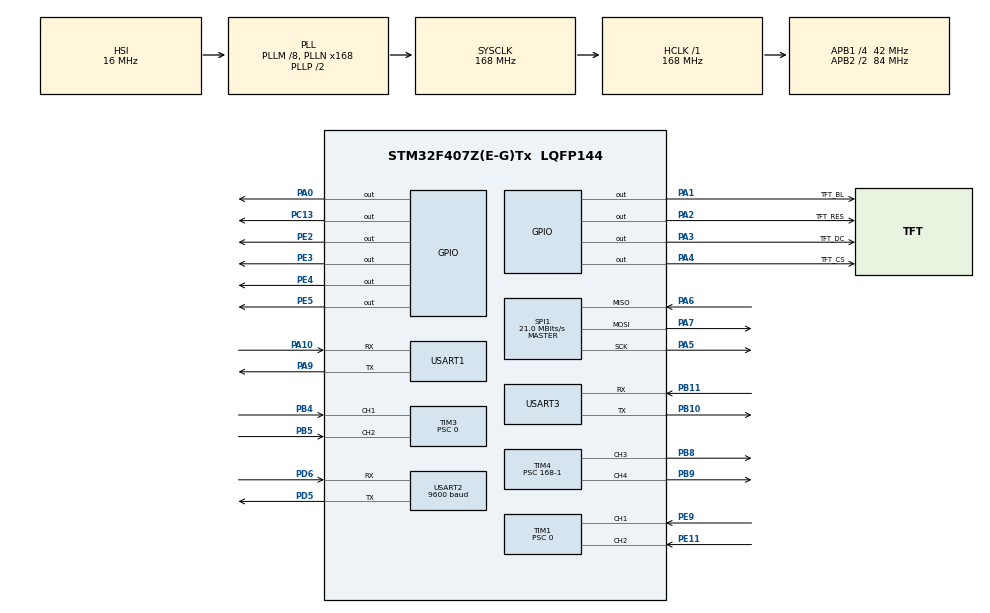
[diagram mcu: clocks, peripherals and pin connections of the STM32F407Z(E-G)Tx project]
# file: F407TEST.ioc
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Dma.Request0=USART1_RX
Dma.Request1=USART1_TX
Dma.USART1_RX.0.Direction=DMA_PERIPH_TO_MEMORY
Dma.USART1_RX.0.FIFOMode=DMA_FIFOMODE_DISABLE
Dma.USART1_RX.0.Instance=DMA2_Stream2
Dma.USART1_RX.0.MemDataAlignment=DMA_MDATAALIGN_BYTE
Dma.USART1_RX.0.MemInc=DMA_MINC_ENABLE
Dma.USART1_RX.0.Mode=DMA_CIRCULAR
Dma.USART1_RX.0.PeriphDataAlignment=DMA_PDATAALIGN_BYTE
Dma.USART1_RX.0.PeriphInc=DMA_PINC_DISABLE
Dma.USART1_RX.0.Priority=DMA_PRIORITY_MEDIUM
Dma.USART1_TX.1.Direction=DMA_MEMORY_TO_PERIPH
Dma.USART1_TX.1.FIFOMode=DMA_FIFOMODE_DISABLE
Dma.USART1_TX.1.Instance=DMA2_Stream7
Dma.USART1_TX.1.MemDataAlignment=DMA_MDATAALIGN_BYTE
Dma.USART1_TX.1.MemInc=DMA_MINC_ENABLE
Dma.USART1_TX.1.Mode=DMA_NORMAL
Dma.USART1_TX.1.PeriphDataAlignment=DMA_PDATAALIGN_BYTE
Dma.USART1_TX.1.PeriphInc=DMA_PINC_DISABLE
Dma.USART1_TX.1.Priority=DMA_PRIORITY_MEDIUM
Mcu.Family=STM32F4
Mcu.Name=STM32F407Z(E-G)Tx
Mcu.Package=LQFP144
NVIC.DMA2_Stream2_IRQn=true\:0\:0\:false\:false\:true\:false\:true\:true
NVIC.DMA2_Stream7_IRQn=true\:0\:0\:false\:false\:true\:false\:true\:true
NVIC.PriorityGroup=NVIC_PRIORITYGROUP_4
NVIC.TIM2_IRQn=true\:0\:0\:true\:false\:true\:true\:true\:true
NVIC.TIM5_IRQn=true\:0\:0\:true\:false\:true\:true\:true\:true
NVIC.USART1_IRQn=true\:0\:0\:true\:false\:true\:true\:true\:true
NVIC.USART2_IRQn=true\:0\:0\:true\:false\:true\:true\:true\:true
NVIC.USART3_IRQn=true\:0\:0\:true\:false\:true\:true\:true\:true
PA0-WKUP.Signal=GPIO_Output
PA1.GPIO_Label=TFT_BL
PA1.Signal=GPIO_Output
PA10.Mode=Asynchronous
PA10.Signal=USART1_RX
PA13.Mode=Serial_Wire
PA13.Signal=SYS_JTMS-SWDIO
PA14.Mode=Serial_Wire
PA14.Signal=SYS_JTCK-SWCLK
PA2.GPIO_Label=TFT_RES
PA2.Signal=GPIO_Output
PA3.GPIO_Label=TFT_DC
PA3.Signal=GPIO_Output
PA4.GPIO_Label=TFT_CS
PA4.Signal=GPIO_Output
PA5.Mode=Full_Duplex_Master
PA5.Signal=SPI1_SCK
PA6.Mode=Full_Duplex_Master
PA6.Signal=SPI1_MISO
PA7.Mode=Full_Duplex_Master
PA7.Signal=SPI1_MOSI
PA9.Mode=Asynchronous
PA9.Signal=USART1_TX
PB10.Mode=Asynchronous
PB10.Signal=USART3_TX
PB11.Mode=Asynchronous
PB11.Signal=USART3_RX
PB4.Signal=S_TIM3_CH1
PB5.Signal=S_TIM3_CH2
PB8.Signal=S_TIM4_CH3
PB9.Signal=S_TIM4_CH4
PC13-ANTI_TAMP.PinState=GPIO_PIN_SET
PC13-ANTI_TAMP.Signal=GPIO_Output
PD5.Mode=Asynchronous
PD5.Signal=USART2_TX
PD6.Mode=Asynchronous
PD6.Signal=USART2_RX
PE11.Signal=S_TIM1_CH2
PE2.Signal=GPIO_Output
PE3.Signal=GPIO_Output
PE4.Signal=GPIO_Output
PE5.Signal=GPIO_Output
PE9.Signal=S_TIM1_CH1
PH0-OSC_IN.Mode=HSE-External-Oscillator
PH0-OSC_IN.Signal=RCC_OSC_IN
PH1-OSC_OUT.Mode=HSE-External-Oscillator
PH1-OSC_OUT.Signal=RCC_OSC_OUT
ProjectManager.HeapSize=0x200
ProjectManager.StackSize=0x400
ProjectManager.TargetToolchain=MDK-ARM V5.32
RCC.48MHZClocksFreq_Value=84000000
RCC.AHBFreq_Value=168000000
RCC.APB1CLKDivider=RCC_HCLK_DIV4
RCC.APB1Freq_Value=42000000
RCC.APB1TimFreq_Value=84000000
RCC.APB2CLKDivider=RCC_HCLK_DIV2
RCC.APB2Freq_Value=84000000
RCC.APB2TimFreq_Value=168000000
RCC.CortexFreq_Value=168000000
RCC.HCLKFreq_Value=168000000
RCC.HSE_VALUE=25000000
RCC.HSI_VALUE=16000000
RCC.LSE_VALUE=32768
RCC.PLLM=8
RCC.PLLN=168
RCC.SYSCLKFreq_VALUE=168000000
RCC.SYSCLKSource=RCC_SYSCLKSOURCE_PLLCLK
RCC.VCOOutputFreq_Value=336000000
SH.S_TIM1_CH1.0=TIM1_CH1,Encoder_Interface
SH.S_TIM1_CH2.0=TIM1_CH2,Encoder_Interface
SH.S_TIM3_CH1.0=TIM3_CH1,Encoder_Interface
SH.S_TIM3_CH2.0=TIM3_CH2,Encoder_Interface
SH.S_TIM4_CH3.0=TIM4_CH3,PWM Generation3 CH3
SH.S_TIM4_CH4.0=TIM4_CH4,PWM Generation4 CH4
SPI1.BaudRatePrescaler=SPI_BAUDRATEPRESCALER_4
SPI1.CalculateBaudRate=21.0 MBits/s
SPI1.Direction=SPI_DIRECTION_2LINES
SPI1.Mode=SPI_MODE_MASTER
SPI1.VirtualType=VM_MASTER
TIM1.EncoderMode=TIM_ENCODERMODE_TI12
TIM1.Prescaler=0
TIM2.AutoReloadPreload=TIM_AUTORELOAD_PRELOAD_ENABLE
TIM2.Period=10000-1
TIM2.Prescaler=84-1
TIM3.EncoderMode=TIM_ENCODERMODE_TI12
TIM3.Prescaler=0
TIM4.Channel-PWM\ Generation3\ CH3=TIM_CHANNEL_3
TIM4.Channel-PWM\ Generation4\ CH4=TIM_CHANNEL_4
TIM4.Period=5000
TIM4.Prescaler=168-1
TIM5.AutoReloadPreload=TIM_AUTORELOAD_PRELOAD_ENABLE
TIM5.Period=10000
TIM5.Prescaler=84-1
USART1.VirtualMode=VM_ASYNC
USART2.BaudRate=9600
USART2.VirtualMode=VM_ASYNC
USART3.VirtualMode=VM_ASYNC
VP_TIM2_VS_ClockSourceINT.Mode=Internal
VP_TIM4_VS_ClockSourceINT.Mode=Internal
VP_TIM5_VS_ClockSourceINT.Mode=Internal
board=custom

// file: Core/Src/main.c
/* USER CODE BEGIN Header */
/*
 * @Author: yyl
 * @Date: 2024-03-31 23:38:49
 * @LastEditors: yyl
 * @FilePath: \MDK-ARMc:\Users\vanilla\Desktop\F407TEST\Core\Src\main.c
 * @LastEditTime: 2024-04-28 14:52:20
 * @Descripttion:
 * code bless us
 */
/* USER CODE END Header */
#include "main.h"
#include "dma.h"
#include "spi.h"
#include "tim.h"
#include "usart.h"
#include "gpio.h"

/* USER CODE BEGIN Includes */
#include "head_files.h"
#include "lcd.h"
#include "lcd_init.h"
#include "pic.h"

/* USER CODE END Includes */

/* USER CODE BEGIN PTD */

void uart_rx(void);
void lcd_disp(void);

char text[20];

uint8_t str[] = "\r\n-------------USART_DMA_Sending------------------\r\n";
  // ���ջ�������СΪ20
uint8_t recvStr[20] = {0};

// int float ���ͻ��ûᵼ����������������ǵ�Ƭ����������

/* USER CODE END PTD */

void SystemClock_Config(void);

/* USER CODE BEGIN 0 */

int fputc(int ch, FILE *f)

{

  HAL_UART_Transmit(&huart3, (uint8_t *)&ch, 1, 0xffff);

  return ch;

}

int pid_flag=0;

/* USER CODE END 0 */

int main(void)
{

  /* MCU Configuration--------------------------------------------------------*/

  /* Reset of all peripherals, Initializes the Flash interface and the Systick. */
  HAL_Init();

  /* Configure the system clock */
  SystemClock_Config();

  /* Initialize all configured peripherals */
  MX_GPIO_Init();
  MX_DMA_Init();
  MX_SPI1_Init();
  MX_USART1_UART_Init();
  MX_USART2_UART_Init();
  MX_USART3_UART_Init();
  MX_TIM1_Init();
  MX_TIM3_Init();
  MX_TIM4_Init();
  MX_TIM2_Init();
  MX_TIM5_Init();
  /* USER CODE BEGIN 2 */

  HAL_TIM_Encoder_Start(&htim1, TIM_CHANNEL_ALL);
  HAL_TIM_Encoder_Start(&htim3, TIM_CHANNEL_ALL);
  __HAL_TIM_SET_COUNTER(&htim1, 15000);
  __HAL_TIM_SET_COUNTER(&htim3, 15000);

  HAL_TIM_PWM_Start(&htim4, TIM_CHANNEL_3);
  HAL_TIM_PWM_Start(&htim4, TIM_CHANNEL_4);

  LCD_Init();
  LCD_Fill(0, 0, LCD_W, LCD_H, BLACK);

  HAL_UART_Receive_DMA(&huart1,(uint8_t *)&USART1_NewData_1,1);

//300 �����ұ��� 800 ���� --���� ++����
  __HAL_TIM_SET_COMPARE(&htim4, TIM_CHANNEL_3,585);
  __HAL_TIM_SET_COMPARE(&htim4, TIM_CHANNEL_4,425);

	// x1=79;y1=132;x_green=156;y_green=134;

	HAL_TIM_Base_Start_IT(&htim2);
  HAL_TIM_Base_Start_IT(&htim5);
  /* USER CODE END 2 */

  /* Infinite loop */
 while (1)
 {

    /* USER CODE BEGIN 3 */

    LCD_ShowIntNum(0, 0, t, 3, RED, WHITE, 16);
		LCD_ShowIntNum(0, 16, x_history[8], 3, RED, WHITE, 16);LCD_ShowIntNum(48, 16, y_history[8], 3, RED, WHITE, 16);
		LCD_ShowIntNum(0, 32, x_red, 3, RED, WHITE, 16);LCD_ShowIntNum(48, 32, y_red, 3, RED, WHITE, 16);
    LCD_ShowIntNum(0, 50, x_green, 3, RED, WHITE, 16);LCD_ShowIntNum(50, 50, y_green, 3, RED, WHITE, 16);
	  LCD_ShowIntNum(0, 70, point_step, 3, RED, WHITE, 16);LCD_ShowIntNum(50, 70, move_step_now, 3, RED, WHITE, 16);

		if( horizon_pid>0){LCD_ShowIntNum(0, 110, i-hor_out, 10, RED, WHITE, 16);}
	  if( horizon_pid<0){LCD_ShowIntNum(0, 110, -(i-hor_out), 10, RED, WHITE, 16);}

		if( vertical_pid>0){LCD_ShowIntNum(48, 110, j+ver_out, 10, RED, WHITE, 16);}
	  if( vertical_pid<0){LCD_ShowIntNum(48, 110, -(j+ver_out), 10, RED, WHITE, 16);}

// if(pid_flag==0){
// 		Servo_start();
// 		pid_flag=1;
// }
		if(fabs(vertical_pid)<1||fabs(horizon_pid)<1){
		// HAL_GPIO_TogglePin(GPIOC,GPIO_PIN_13);
		  HAL_GPIO_WritePin(GPIOC,GPIO_PIN_13,0);
		}
		else{
		  HAL_GPIO_WritePin(GPIOC,GPIO_PIN_13,1);
		}

//		move_step();
}
  /* USER CODE END 3 */
}

void SystemClock_Config(void)
{
  RCC_OscInitTypeDef RCC_OscInitStruct = {0};
  RCC_ClkInitTypeDef RCC_ClkInitStruct = {0};

  /** Configure the main internal regulator output voltage
  */
  __HAL_RCC_PWR_CLK_ENABLE();
  __HAL_PWR_VOLTAGESCALING_CONFIG(PWR_REGULATOR_VOLTAGE_SCALE1);

  /** Initializes the RCC Oscillators according to the specified parameters
  * in the RCC_OscInitTypeDef structure.
  */
  RCC_OscInitStruct.OscillatorType = RCC_OSCILLATORTYPE_HSI;
  RCC_OscInitStruct.HSIState = RCC_HSI_ON;
  RCC_OscInitStruct.HSICalibrationValue = RCC_HSICALIBRATION_DEFAULT;
  RCC_OscInitStruct.PLL.PLLState = RCC_PLL_ON;
  RCC_OscInitStruct.PLL.PLLSource = RCC_PLLSOURCE_HSI;
  RCC_OscInitStruct.PLL.PLLM = 8;
  RCC_OscInitStruct.PLL.PLLN = 168;
  RCC_OscInitStruct.PLL.PLLP = RCC_PLLP_DIV2;
  RCC_OscInitStruct.PLL.PLLQ = 4;
  if (HAL_RCC_OscConfig(&RCC_OscInitStruct) != HAL_OK)
  {
    Error_Handler();
  }

  /** Initializes the CPU, AHB and APB buses clocks
  */
  RCC_ClkInitStruct.ClockType = RCC_CLOCKTYPE_HCLK|RCC_CLOCKTYPE_SYSCLK
                              |RCC_CLOCKTYPE_PCLK1|RCC_CLOCKTYPE_PCLK2;
  RCC_ClkInitStruct.SYSCLKSource = RCC_SYSCLKSOURCE_PLLCLK;
  RCC_ClkInitStruct.AHBCLKDivider = RCC_SYSCLK_DIV1;
  RCC_ClkInitStruct.APB1CLKDivider = RCC_HCLK_DIV4;
  RCC_ClkInitStruct.APB2CLKDivider = RCC_HCLK_DIV2;

  if (HAL_RCC_ClockConfig(&RCC_ClkInitStruct, FLASH_LATENCY_5) != HAL_OK)
  {
    Error_Handler();
  }
}

/* USER CODE BEGIN 4 */
void lcd_disp()
{
//  sprintf(text, "speed:%d   ", speed_reality);
//  LCD_ShowString(0, 0, (uint8_t *)text, WHITE, BLACK, 16, 0);
//  sprintf(text, "speed_out:%d   ", speed_out);
//  LCD_ShowString(0, 16, (uint8_t *)text, WHITE, BLACK, 16, 0);
  // sprintf(text, "flag_stop:%d   ", flag_stop);
  // LCD_ShowString(0, 0, (uint8_t *)text, WHITE, BLACK, 16, 0);
  // sprintf(text, "rxpointer:%d   ", rx_pointer);
  // LCD_ShowString(0, 16, (uint8_t *)text, WHITE, BLACK, 16, 0);
  // sprintf(text, "rxdata:%d   ", rxdatas[0]);
  // LCD_ShowString(0, 32, (uint8_t *)text, WHITE, BLACK, 16, 0);
  // LCD_ShowChinese(0, 0, "�?�?�?电�???", RED, WHITE, 24, 0);
  // LCD_ShowString(24, 30, "LCD_W:", RED, WHITE, 16, 0);
  // LCD_ShowIntNum(72, 30, LCD_W, 3, RED, WHITE, 16);
  // LCD_ShowString(24, 50, "LCD_H:", RED, WHITE, 16, 0);
  // LCD_ShowIntNum(72, 50, LCD_H, 3, RED, WHITE, 16);
  // LCD_ShowFloatNum1(20, 80, t, 4, RED, WHITE, 16);
  // t += 0.11;
  // LCD_ShowPicture(0, 0, 128, 160, gImage_cat);
}

/* USER CODE END 4 */

void Error_Handler(void)
{
  __disable_irq();
  while (1)
  {
  }
}
